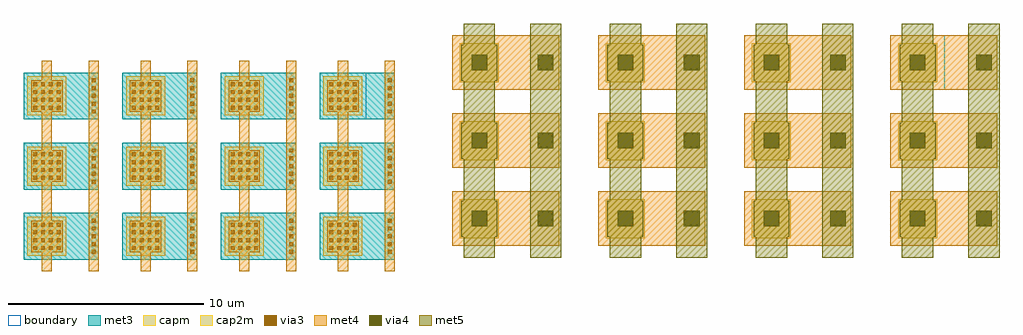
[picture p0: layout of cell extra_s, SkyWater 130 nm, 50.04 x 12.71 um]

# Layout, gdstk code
import gdstk
lib = gdstk.Library(unit=1e-6, precision=1e-09)
def R(c, l, rs):  # rectangles x0, y0, x1, y1
    for r in rs: c.add(gdstk.rectangle(r[:2], r[2:], *l))
def A(c, l, x, y, w, h, nx, ny, dx, dy):  # array of equal rectangles
    R(c, l, [(x+i*dx, y+j*dy, x+i*dx+w, y+j*dy+h) for i in range(nx) for j in range(ny)])
met3 = (70, 20)
via3 = (70, 44)
met4 = (71, 20)
via4 = (71, 44)
met5 = (72, 20)
capm = (89, 44)
cap2m = (97, 44)
boundary = (235, 4)

sky130_fd_pr__cap_mim_m3 = lib.new_cell('sky130_fd_pr__cap_mim_m3_2_F6VAMD')
A(sky130_fd_pr__cap_mim_m3, met4, -13.98, -5.4, 5.49, 2.8, 4, 3, 7.49, 4)
A(sky130_fd_pr__cap_mim_m3, via4, -12.98, -4.4, 0.8, 0.8, 1, 3, 0, 4)
A(sky130_fd_pr__cap_mim_m3, via4, -9.58, -4.4, 0.8, 0.8, 1, 3, 0, 4)
A(sky130_fd_pr__cap_mim_m3, via4, -5.49, -4.4, 0.8, 0.8, 1, 3, 0, 4)
A(sky130_fd_pr__cap_mim_m3, via4, -2.09, -4.4, 0.8, 0.8, 1, 3, 0, 4)
A(sky130_fd_pr__cap_mim_m3, via4, 2, -4.4, 0.8, 0.8, 1, 3, 0, 4)
A(sky130_fd_pr__cap_mim_m3, via4, 5.4, -4.4, 0.8, 0.8, 1, 3, 0, 4)
A(sky130_fd_pr__cap_mim_m3, via4, 9.49, -4.4, 0.8, 0.8, 1, 3, 0, 4)
A(sky130_fd_pr__cap_mim_m3, via4, 12.89, -4.4, 0.8, 0.8, 1, 3, 0, 4)
A(sky130_fd_pr__cap_mim_m3, met5, -13.38, -6, 1.6, 1.08, 4, 2, 7.49, 10.92)
A(sky130_fd_pr__cap_mim_m3, met5, -9.98, -6, 1.6, 12, 4, 1, 7.49, 0)
A(sky130_fd_pr__cap_mim_m3, met5, -13.5, -4.92, 1.84, 1.84, 4, 3, 7.49, 4)
A(sky130_fd_pr__cap_mim_m3, met5, -13.38, -3.08, 1.6, 2.16, 4, 2, 7.49, 4)
A(sky130_fd_pr__cap_mim_m3, cap2m, -13.58, -5, 2, 2, 4, 3, 7.49, 4)
R(sky130_fd_pr__cap_mim_m3, boundary, [(8.49,2.6,11.29,5.4)])

c_sky130_fd_pr__cap_mim_m3 = lib.new_cell('sky130_fd_pr__cap_mim_m3_1_F6VAMD')
A(c_sky130_fd_pr__cap_mim_m3, met3, -9.52, -4.8, 3.86, 2.4, 4, 3, 5.06, 3.6)
A(c_sky130_fd_pr__cap_mim_m3, via3, -6.02, -4.5, 0.2, 0.2, 4, 5, 5.06, 0.4)
A(c_sky130_fd_pr__cap_mim_m3, via3, -9.02, -4.3, 0.2, 0.2, 4, 4, 0.4, 0.4)
A(c_sky130_fd_pr__cap_mim_m3, via3, -3.96, -4.3, 0.2, 0.2, 4, 4, 0.4, 0.4)
A(c_sky130_fd_pr__cap_mim_m3, via3, 1.1, -4.3, 0.2, 0.2, 4, 4, 0.4, 0.4)
A(c_sky130_fd_pr__cap_mim_m3, via3, 6.16, -4.3, 0.2, 0.2, 4, 4, 0.4, 0.4)
A(c_sky130_fd_pr__cap_mim_m3, via3, -6.02, -0.9, 0.2, 0.2, 4, 5, 5.06, 0.4)
A(c_sky130_fd_pr__cap_mim_m3, via3, -9.02, -0.7, 0.2, 0.2, 4, 4, 0.4, 0.4)
A(c_sky130_fd_pr__cap_mim_m3, via3, -3.96, -0.7, 0.2, 0.2, 4, 4, 0.4, 0.4)
A(c_sky130_fd_pr__cap_mim_m3, via3, 1.1, -0.7, 0.2, 0.2, 4, 4, 0.4, 0.4)
A(c_sky130_fd_pr__cap_mim_m3, via3, 6.16, -0.7, 0.2, 0.2, 4, 4, 0.4, 0.4)
A(c_sky130_fd_pr__cap_mim_m3, via3, -6.02, 2.7, 0.2, 0.2, 4, 5, 5.06, 0.4)
A(c_sky130_fd_pr__cap_mim_m3, via3, -9.02, 2.9, 0.2, 0.2, 4, 4, 0.4, 0.4)
A(c_sky130_fd_pr__cap_mim_m3, via3, -3.96, 2.9, 0.2, 0.2, 4, 4, 0.4, 0.4)
A(c_sky130_fd_pr__cap_mim_m3, via3, 1.1, 2.9, 0.2, 0.2, 4, 4, 0.4, 0.4)
A(c_sky130_fd_pr__cap_mim_m3, via3, 6.16, 2.9, 0.2, 0.2, 4, 4, 0.4, 0.4)
A(c_sky130_fd_pr__cap_mim_m3, met4, -8.58, -5.4, 0.52, 0.995, 4, 2, 5.06, 9.805)
A(c_sky130_fd_pr__cap_mim_m3, met4, -6.18, -5.4, 0.52, 10.8, 4, 1, 5.06, 0)
A(c_sky130_fd_pr__cap_mim_m3, met4, -9.125, -4.405, 1.61, 1.61, 4, 3, 5.06, 3.6)
A(c_sky130_fd_pr__cap_mim_m3, met4, -8.58, -2.795, 0.52, 1.99, 4, 2, 5.06, 3.6)
A(c_sky130_fd_pr__cap_mim_m3, capm, -9.32, -4.6, 2, 2, 4, 3, 5.06, 3.6)
R(c_sky130_fd_pr__cap_mim_m3, boundary, [(5.66,2.4,8.06,4.8)])

extra_s = lib.new_cell('extra_s')
extra_s.add(gdstk.Reference(sky130_fd_pr__cap_mim_m3, (20.77,-1.09)))
extra_s.add(gdstk.Reference(c_sky130_fd_pr__cap_mim_m3, (-5.66,-2.4)))

lib.write_gds('extra_s.gds')
